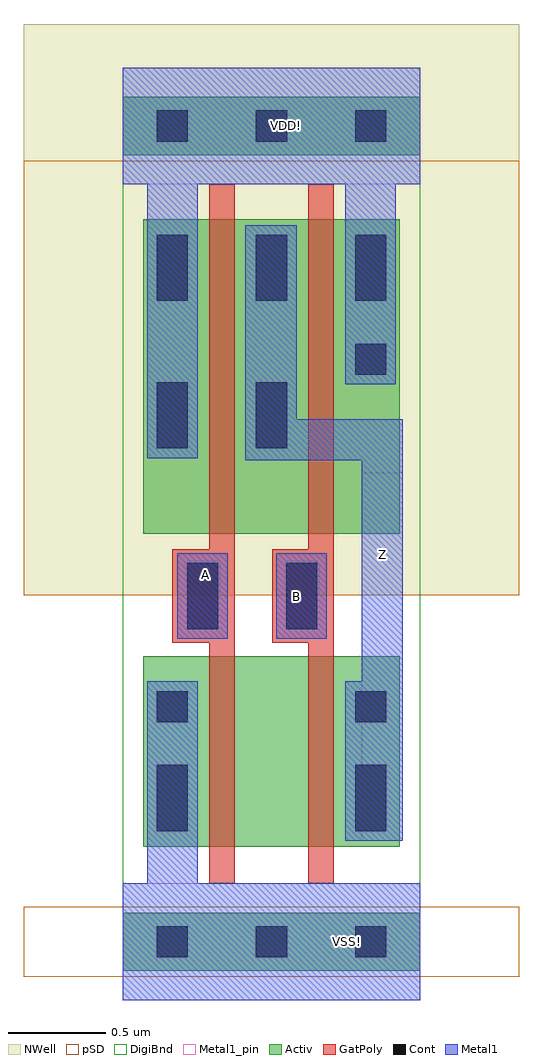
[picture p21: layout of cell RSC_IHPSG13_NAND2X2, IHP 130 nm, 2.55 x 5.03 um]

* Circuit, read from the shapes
.subckt RSC_IHPSG13_NAND2X2 A B VDD! VSS! Z
XM1 n1 A VSS! VSS! sg13_lv_nmos w=0.98u l=0.13u
XM2 Z B n1 VSS! sg13_lv_nmos w=0.98u l=0.13u
XM3 Z A VDD! VDD! sg13_lv_pmos w=1.62u l=0.13u
XM4 VDD! B Z VDD! sg13_lv_pmos w=1.62u l=0.13u
.ends

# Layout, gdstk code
import gdstk
lib = gdstk.Library(unit=1e-6, precision=1e-09)
def R(c, l, rs):  # rectangles x0, y0, x1, y1
    for r in rs: c.add(gdstk.rectangle(r[:2], r[2:], *l))
def A(c, l, x, y, w, h, nx, ny, dx, dy):  # array of equal rectangles
    R(c, l, [(x+i*dx, y+j*dy, x+i*dx+w, y+j*dy+h) for i in range(nx) for j in range(ny)])
def P(c, l, *ps):  # polygons
    for p in ps: c.add(gdstk.Polygon(p, *l))
Activ = (1, 0)
GatPoly = (5, 0)
Cont = (6, 0)
Metal1 = (8, 0)
Metal1_pin = (8, 2)
pSD = (14, 0)
DigiBnd = (16, 0)
NWell = (31, 0)

rsc_ihpsg13_nand2x2 = lib.new_cell('RSC_IHPSG13_NAND2X2')
R(rsc_ihpsg13_nand2x2, Activ, [(0,-0.15,1.53,0.15), (0.105,0.49,1.425,1.47), (0.105,2.1,1.425,3.72), (0,4.05,1.53,4.35)])
P(rsc_ihpsg13_nand2x2, GatPoly, [(0.955,0.3),(0.955,1.54),(0.77,1.54),(0.77,2.02),(0.955,2.02),(0.955,3.9),(1.085,3.9),(1.085,0.3)],
  [(0.445,0.3),(0.445,1.54),(0.255,1.54),(0.255,2.02),(0.445,2.02),(0.445,3.9),(0.575,3.9),(0.575,0.3)])
A(rsc_ihpsg13_nand2x2, Cont, 0.175, -0.08, 0.16, 0.16, 3, 2, 0.51, 4.2)
A(rsc_ihpsg13_nand2x2, Cont, 0.175, 3.3, 0.16, 0.34, 3, 1, 0.51, 0)
R(rsc_ihpsg13_nand2x2, Cont, [(0.175,0.57,0.335,0.91), (1.195,0.57,1.355,0.91), (0.175,1.13,0.335,1.29), (1.195,1.13,1.355,1.29), (0.33,1.61,0.49,1.95), (0.84,1.61,1,1.95), (0.175,2.54,0.335,2.88), (0.685,2.54,0.845,2.88), (1.195,2.92,1.355,3.08)])
R(rsc_ihpsg13_nand2x2, Metal1, [(0.28,1.56,0.54,2), (0.79,1.56,1.05,2)])
P(rsc_ihpsg13_nand2x2, Metal1, [(1.145,0.52),(1.145,1.34),(1.23,1.34),(1.23,2.48),(0.63,2.48),(0.63,3.69),(0.895,3.69),(0.895,2.69),(1.44,2.69),(1.44,0.52)],
  [(0.125,2.49),(0.125,3.9),(0,3.9),(0,4.5),(1.53,4.5),(1.53,3.9),(1.405,3.9),(1.405,2.87),(1.145,2.87),(1.145,3.9),(0.385,3.9),(0.385,2.49)],
  [(0,-0.3),(0,0.3),(0.125,0.3),(0.125,1.34),(0.385,1.34),(0.385,0.3),(1.53,0.3),(1.53,-0.3)])
R(rsc_ihpsg13_nand2x2, Metal1_pin, [(0,-0.3,1.53,0.3), (1.23,0.52,1.44,2.415), (0.28,1.56,0.54,2), (0.79,1.56,1.05,2), (0,3.9,1.53,4.5)])
R(rsc_ihpsg13_nand2x2, pSD, [(-0.51,-0.18,2.04,0.18), (-0.51,1.785,2.04,4.02)])
R(rsc_ihpsg13_nand2x2, DigiBnd, [(0,-0.3,1.53,4.5)])
R(rsc_ihpsg13_nand2x2, NWell, [(-0.51,1.785,2.04,4.725)])
rsc_ihpsg13_nand2x2.add(gdstk.Label('A', (0.425,1.89), layer=8, texttype=2))
rsc_ihpsg13_nand2x2.add(gdstk.Label('Z', (1.335,1.995), layer=8, texttype=2))
rsc_ihpsg13_nand2x2.add(gdstk.Label('VDD!', (0.84,4.2), layer=8, texttype=2))
rsc_ihpsg13_nand2x2.add(gdstk.Label('VSS!', (1.155,0), layer=8, texttype=2))
rsc_ihpsg13_nand2x2.add(gdstk.Label('B', (0.895,1.775), layer=8, texttype=2))

lib.write_gds('RSC_IHPSG13_NAND2X2.gds')
